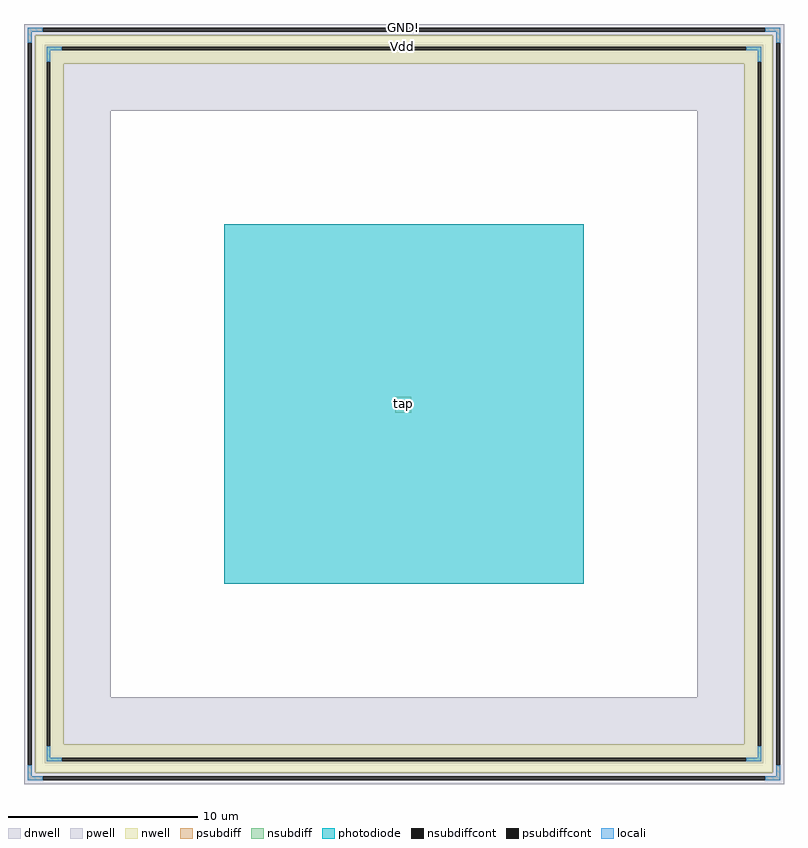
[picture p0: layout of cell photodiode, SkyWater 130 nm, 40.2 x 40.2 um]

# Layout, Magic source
magic
tech sky130A
magscale 1 2
<< dnwell >>
rect -700 6200 6900 6900
rect -700 0 0 6200
rect 6200 0 6900 6200
rect -700 -700 6900 0
<< photodiode >>
rect 1200 1200 5000 5000
<< nwell >>
rect -800 6700 7000 7000
rect -800 -500 -500 6700
rect 3010 3010 3178 3178
rect 6700 -500 7000 6700
rect -800 -800 7000 -500
<< pwell >>
rect -920 7000 7120 7120
rect -920 -800 -800 7000
rect 7000 -800 7120 7000
rect -920 -920 7120 -800
<< psubdiff >>
rect -880 7040 -720 7080
rect 6920 7040 7080 7080
rect -880 6920 -840 7040
rect 7040 6920 7080 7040
rect -880 -840 -840 -720
rect 7040 -840 7080 -720
rect -880 -880 -720 -840
rect 6920 -880 7080 -840
<< nsubdiff >>
rect -680 6840 -520 6880
rect 6720 6840 6880 6880
rect -680 6720 -640 6840
rect 6840 6720 6880 6840
rect 3053 3111 3135 3135
rect 3053 3077 3077 3111
rect 3111 3077 3135 3111
rect 3053 3053 3135 3077
rect -680 -640 -640 -520
rect 6840 -640 6880 -520
rect -680 -680 -520 -640
rect 6720 -680 6880 -640
<< psubdiffcont >>
rect -720 7040 6920 7080
rect -880 -720 -840 6920
rect 7040 -720 7080 6920
rect -720 -880 6920 -840
<< nsubdiffcont >>
rect -520 6840 6720 6880
rect -680 -520 -640 6720
rect 3077 3077 3111 3111
rect 6840 -520 6880 6720
rect -520 -680 6720 -640
<< locali >>
rect -880 7040 -720 7080
rect 6920 7040 7080 7080
rect -880 6920 -840 7040
rect 7040 6920 7080 7040
rect -680 6840 -520 6880
rect 6720 6840 6880 6880
rect -680 6720 -640 6840
rect 6840 6720 6880 6840
rect 3061 3077 3077 3111
rect 3111 3077 3127 3111
rect -680 -640 -640 -520
rect 6840 -640 6880 -520
rect -680 -680 -520 -640
rect 6720 -680 6880 -640
rect -880 -840 -840 -720
rect 7040 -840 7080 -720
rect -880 -880 -720 -840
rect 6920 -880 7080 -840
<< labels >>
rlabel nsubdiffcont 3094 3108 3094 3108 1 tap
port 4 n
rlabel nsubdiffcont 2952 6880 3224 6880 1 Vdd
port 3 n
rlabel psubdiffcont 2962 7080 3228 7080 1 GND!
<< end >>
